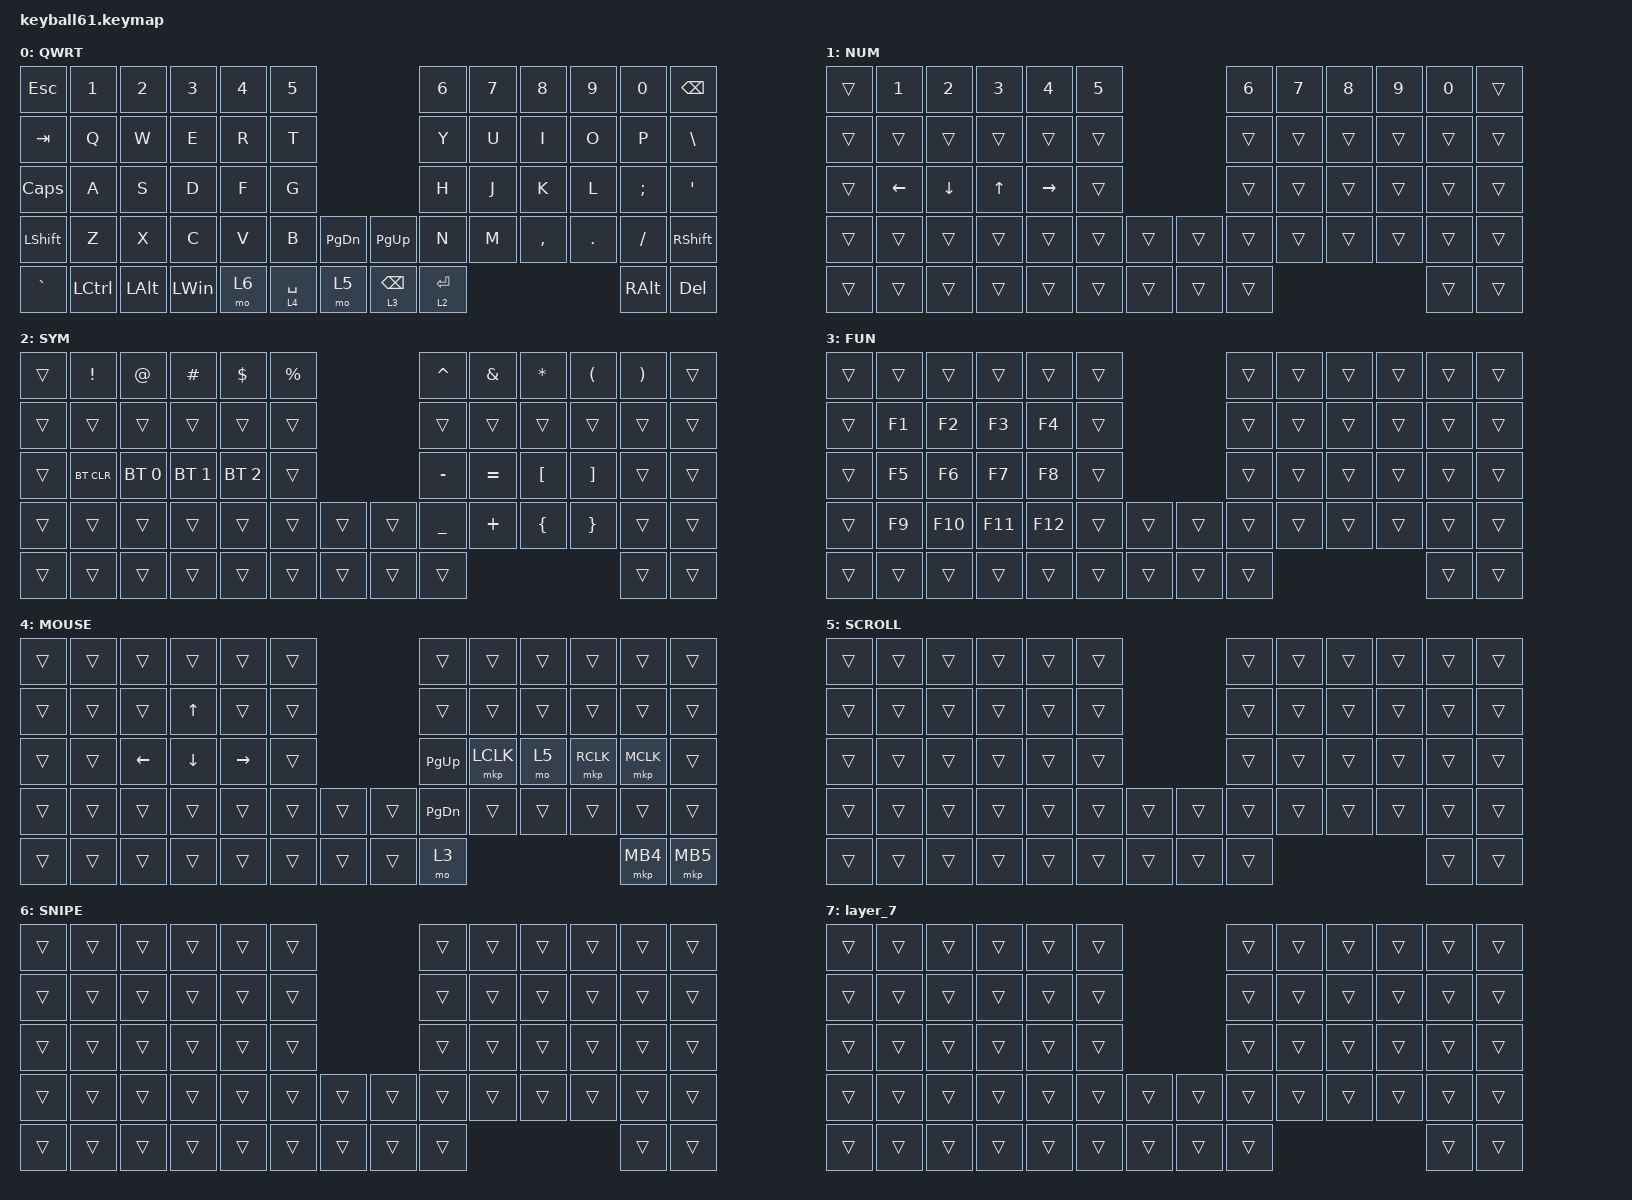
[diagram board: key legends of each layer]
#define DEFAULT 0
#define SYM     1
#define FUN     2
#define MOUSE   3
#define SCROLL  4
#define SNIPE   5

#include <behaviors/mouse_keys.dtsi>
#include <dt-bindings/zmk/mouse.h>
#include <behaviors.dtsi>
#include <dt-bindings/zmk/bt.h>
#include <dt-bindings/zmk/keys.h>
#include <dt-bindings/zmk/pointing.h>

&nice_view_spi { cs-gpios = <&pro_micro 1 GPIO_ACTIVE_HIGH>; };

&lt {
    tapping-term-ms = <240>;
    flavor = "balanced";
    quick-tap-ms = <150>;
};

&mt {
    tapping-term-ms = <200>;
    flavor = "tap-preferred";
    quick-tap-ms = <150>;
};

/ {
    keymap {
        compatible = "zmk,keymap";

        default_layer {
            label = "QWRT";
            bindings = <
&kp ESC         &kp N1     &kp N2        &kp N3        &kp N4  &kp N5                                       &kp N6       &kp N7  &kp N8     &kp N9   &kp N0         &kp BSPC
&kp TAB         &kp Q      &kp W         &kp E         &kp R   &kp T                                        &kp Y        &kp U   &kp I      &kp O    &kp P          &kp BACKSLASH
&kp CAPS        &kp A      &kp S         &kp D         &kp F   &kp G                                        &kp H        &kp J   &kp K      &kp L    &kp SEMI       &kp SQT
&kp LEFT_SHIFT  &kp Z      &kp X         &kp C         &kp V   &kp B        &kp PAGE_DOWN  &kp PAGE_UP      &kp N        &kp M   &kp COMMA  &kp DOT  &kp FSLH       &kp RIGHT_SHIFT
&kp GRAVE       &kp LCTRL  &kp LEFT_ALT  &kp LEFT_WIN  &mo 6   &lt 4 SPACE  &mo 5          &lt 3 BACKSPACE  &lt 2 ENTER                              &kp RIGHT_ALT  &kp DELETE
            >;
        };

        number_layer {
            bindings = <
&trans  &kp N1    &kp N2    &kp N3  &kp N4     &kp N5                  &kp N6  &kp N7  &kp N8  &kp N9  &kp N0  &trans
&trans  &trans    &trans    &trans  &trans     &trans                  &trans  &trans  &trans  &trans  &trans  &trans
&trans  &kp LEFT  &kp DOWN  &kp UP  &kp RIGHT  &trans                  &trans  &trans  &trans  &trans  &trans  &trans
&trans  &trans    &trans    &trans  &trans     &trans  &trans  &trans  &trans  &trans  &trans  &trans  &trans  &trans
&trans  &trans    &trans    &trans  &trans     &trans  &trans  &trans  &trans                          &trans  &trans
            >;

            label = "NUM";
        };

        symbol_layer {
            label = "SYM";
            bindings = <
&trans  &kp EXCLAMATION  &kp AT_SIGN   &kp HASH      &kp DOLLAR    &kp PERCENT                  &kp CARET       &kp AMPERSAND  &kp ASTERISK      &kp LEFT_PARENTHESIS  &kp RIGHT_PARENTHESIS  &trans
&trans  &trans           &trans        &trans        &trans        &trans                       &trans          &trans         &trans            &trans                &trans                 &trans
&trans  &bt BT_CLR       &bt BT_SEL 0  &bt BT_SEL 1  &bt BT_SEL 2  &trans                       &kp MINUS       &kp EQUAL      &kp LEFT_BRACKET  &kp RIGHT_BRACKET     &trans                 &trans
&trans  &trans           &trans        &trans        &trans        &trans       &trans  &trans  &kp UNDERSCORE  &kp PLUS       &kp LEFT_BRACE    &kp RIGHT_BRACE       &trans                 &trans
&trans  &trans           &trans        &trans        &trans        &trans       &trans  &trans  &trans                                                                 &trans                 &trans
            >;
        };

        function_layer {
            label = "FUN";
            bindings = <
&trans  &trans  &trans   &trans   &trans   &trans                  &trans  &trans  &trans  &trans  &trans  &trans
&trans  &kp F1  &kp F2   &kp F3   &kp F4   &trans                  &trans  &trans  &trans  &trans  &trans  &trans
&trans  &kp F5  &kp F6   &kp F7   &kp F8   &trans                  &trans  &trans  &trans  &trans  &trans  &trans
&trans  &kp F9  &kp F10  &kp F11  &kp F12  &trans  &trans  &trans  &trans  &trans  &trans  &trans  &trans  &trans
&trans  &trans  &trans   &trans   &trans   &trans  &trans  &trans  &trans                          &trans  &trans
            >;
        };

        mouse_layer {
            label = "MOUSE";
            bindings = <
&trans  &trans  &trans    &trans    &trans     &trans                  &trans         &trans     &trans  &trans     &trans     &trans
&trans  &trans  &trans    &kp UP    &trans     &trans                  &trans         &trans     &trans  &trans     &trans     &trans
&trans  &trans  &kp LEFT  &kp DOWN  &kp RIGHT  &trans                  &kp PAGE_UP    &mkp LCLK  &mo 5   &mkp RCLK  &mkp MCLK  &trans
&trans  &trans  &trans    &trans    &trans     &trans  &trans  &trans  &kp PAGE_DOWN  &trans     &trans  &trans     &trans     &trans
&trans  &trans  &trans    &trans    &trans     &trans  &trans  &trans  &mo 3                                        &mkp MB4   &mkp MB5
            >;
        };

        scroll_layer {
            label = "SCROLL";
            bindings = <
&trans  &trans  &trans  &trans  &trans  &trans                  &trans  &trans  &trans  &trans  &trans  &trans
&trans  &trans  &trans  &trans  &trans  &trans                  &trans  &trans  &trans  &trans  &trans  &trans
&trans  &trans  &trans  &trans  &trans  &trans                  &trans  &trans  &trans  &trans  &trans  &trans
&trans  &trans  &trans  &trans  &trans  &trans  &trans  &trans  &trans  &trans  &trans  &trans  &trans  &trans
&trans  &trans  &trans  &trans  &trans  &trans  &trans  &trans  &trans                          &trans  &trans
            >;
        };

        snipe_layer {
            label = "SNIPE";
            bindings = <
&trans  &trans  &trans  &trans  &trans  &trans                  &trans  &trans  &trans  &trans  &trans  &trans
&trans  &trans  &trans  &trans  &trans  &trans                  &trans  &trans  &trans  &trans  &trans  &trans
&trans  &trans  &trans  &trans  &trans  &trans                  &trans  &trans  &trans  &trans  &trans  &trans
&trans  &trans  &trans  &trans  &trans  &trans  &trans  &trans  &trans  &trans  &trans  &trans  &trans  &trans
&trans  &trans  &trans  &trans  &trans  &trans  &trans  &trans  &trans                          &trans  &trans
            >;
        };

        layer_7 {
            bindings = <
&trans  &trans  &trans  &trans  &trans  &trans                  &trans  &trans  &trans  &trans  &trans  &trans
&trans  &trans  &trans  &trans  &trans  &trans                  &trans  &trans  &trans  &trans  &trans  &trans
&trans  &trans  &trans  &trans  &trans  &trans                  &trans  &trans  &trans  &trans  &trans  &trans
&trans  &trans  &trans  &trans  &trans  &trans  &trans  &trans  &trans  &trans  &trans  &trans  &trans  &trans
&trans  &trans  &trans  &trans  &trans  &trans  &trans  &trans  &trans                          &trans  &trans
            >;
        };
    };
};
